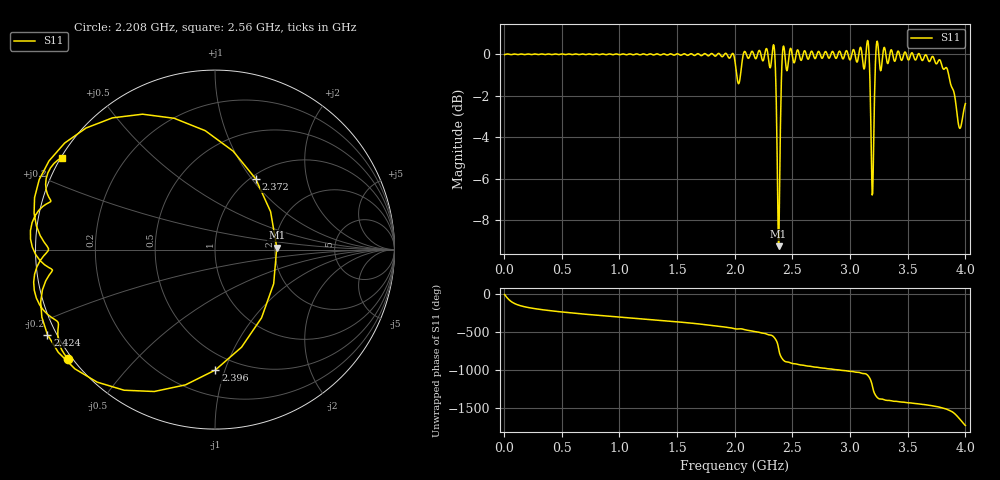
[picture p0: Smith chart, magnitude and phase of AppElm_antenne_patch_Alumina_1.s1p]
! TOUCHSTONE file generated by CST MICROWAVE STUDIO
! Date and time: Thu Jun  9 08:54:55 2022
! Project name: AppElm_antenne_patch_Alumina.cst
! Parameters = {L=22.875; W=41.8; e=0.035; h=1.6; lambda=0.190476; ls=90; w0=1.12; w1=0.373; ws=90; y0=14; y1=10}
! Header version: 2018
! Port assignment regex: !\s*Touchstone port\s*([0-9]+)\s*=\s*(CST MWS port|CST DS port)\s*([0-9]+|Zmin|Zmax)\s*\(\"(.*)\"\)(\s*mode\s*([0-9]+))?.*
! Touchstone port assignment:
! Touchstone port 1 = CST MWS port 1 ("")
# GHz S MA R 50
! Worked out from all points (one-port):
!   1000 points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, 4 MHz to 4 GHz, reference 50 ohm
!   lowest |S11| = -9.3 dB at 2.38 GHz (marker M1), VSWR 2.05, Z = 102 + j2.68 ohm
!   |S11| at or under -10 dB: nowhere
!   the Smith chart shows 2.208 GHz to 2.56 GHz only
!   S11 on the Smith chart (normalised r, x): 2.208 GHz: -0.01, -0.33; 2.372 GHz: 1.05, +1.05; 2.396 GHz: 0.38, -0.93; 2.424 GHz: -0.02, -0.24; 2.56 GHz: 0.00, +0.28
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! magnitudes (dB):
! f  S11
! 4 MHz  0.0
! 504 MHz  0.0
! 1.004 GHz  0.0
! 1.504 GHz  0.0
! 2.004 GHz  -0.4
! 2.036 GHz  -1.4
! 2.084 GHz  0.1
! 2.208 GHz  0.2
! 2.336 GHz  0.5
! 2.348 GHz  -0.1
! 2.372 GHz  -6.8
! 2.38 GHz  -9.3
! 2.396 GHz  -3.5
! 2.412 GHz  -0.1
! 2.424 GHz  0.4
! 2.504 GHz  -0.2
! 2.56 GHz  0.0
! 3.004 GHz  -0.2
! 3.152 GHz  0.7
! 3.184 GHz  -4.7
! 3.192 GHz  -6.8
! 3.204 GHz  -4.4
! 3.224 GHz  0.1
! 3.236 GHz  0.6
! 3.504 GHz  -0.3
! 3.836 GHz  -0.6
! 3.952 GHz  -3.6
! 4 GHz  -2.4
